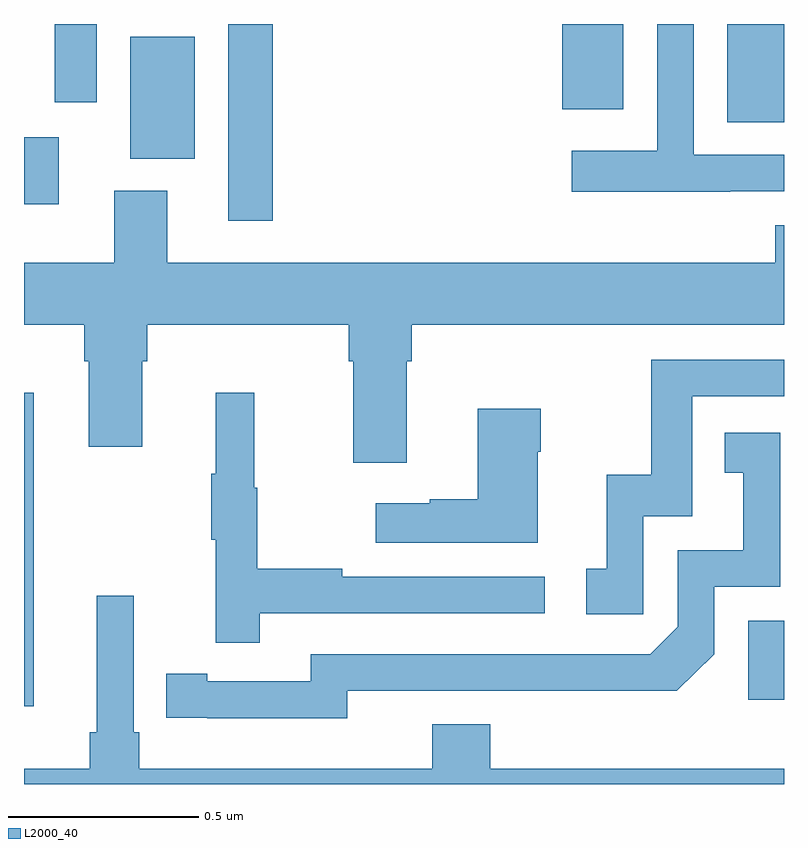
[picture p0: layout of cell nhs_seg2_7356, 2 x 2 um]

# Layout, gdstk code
import gdstk
lib = gdstk.Library(unit=1e-6, precision=1e-09)
def R(c, l, rs):  # rectangles x0, y0, x1, y1
    for r in rs: c.add(gdstk.rectangle(r[:2], r[2:], *l))
def P(c, l, *ps):  # polygons
    for p in ps: c.add(gdstk.Polygon(p, *l))
L2000_40 = (2000, 40)

nhs_seg2_7356 = lib.new_cell('nhs_seg2_7356')
R(nhs_seg2_7356, L2000_40, [(203,608.004,203.026,608.83), (204.906,608.022,205,608.229), (203.538,609.282,203.654,609.8), (203,609.326,203.092,609.502), (203.279,609.446,203.449,609.766), (204.851,609.541,205,609.8), (204.416,609.576,204.577,609.8), (203.081,609.594,203.191,609.8)])
P(nhs_seg2_7356, L2000_40, [(204.859,609.36),(205,609.36),(205,609.456),(204.762,609.456),(204.762,609.8),(204.666,609.8),(204.666,609.466),(204.441,609.466),(204.441,609.359),(204.859,609.359)],
  [(204.007,608.912),(204.02,608.912),(204.02,609.008),(205,609.008),(205,609.271),(204.977,609.271),(204.977,609.172),(203.377,609.172),(203.377,609.361),(203.237,609.361),(203.237,609.172),(203,609.172),(203,609.008),(203.159,609.008),(203.159,608.912),(203.171,608.912),(203.171,608.688),(203.311,608.688),(203.311,608.912),(203.324,608.912),(203.324,609.008),(203.855,609.008),(203.855,608.912),(203.867,608.912),(203.867,608.646),(204.007,608.646)],
  [(204.63,608.505),(204.759,608.505),(204.759,608.82),(205,608.82),(205,608.916),(204.651,608.916),(204.651,608.614),(204.533,608.614),(204.533,608.367),(204.48,608.367),(204.48,608.247),(204.63,608.247)],
  [(203.621,608.25),(204.37,608.25),(204.37,608.346),(203.837,608.346),(203.837,608.366),(203.614,608.366),(203.614,608.58),(203.606,608.58),(203.606,608.83),(203.504,608.83),(203.504,608.617),(203.493,608.617),(203.493,608.443),(203.504,608.443),(203.504,608.172),(203.621,608.172)],
  [(204.352,608.675),(204.36,608.675),(204.36,608.788),(204.194,608.788),(204.194,608.549),(204.068,608.549),(204.068,608.539),(203.925,608.539),(203.925,608.435),(204.352,608.435)],
  [(203.85,608.046),(204.31,608.046),(204.31,608.045),(204.718,608.045),(204.816,608.142),(204.816,608.319),(204.99,608.319),(204.99,608.725),(204.844,608.725),(204.844,608.619),(204.893,608.619),(204.893,608.415),(204.72,608.415),(204.72,608.214),(204.648,608.142),(203.754,608.142),(203.754,608.07),(203.482,608.07),(203.482,608.09),(203.374,608.09),(203.374,607.974),(203.482,607.974),(203.482,607.973),(203.85,607.973)],
  [(205,607.84),(204.227,607.84),(204.227,607.957),(204.074,607.957),(204.074,607.84),(203.303,607.84),(203.303,607.936),(203.289,607.936),(203.289,608.296),(203.192,608.296),(203.192,607.936),(203.173,607.936),(203.173,607.84),(203,607.84),(203,607.8),(205,607.8)])

lib.write_gds('nhs_seg2_7356.gds')
